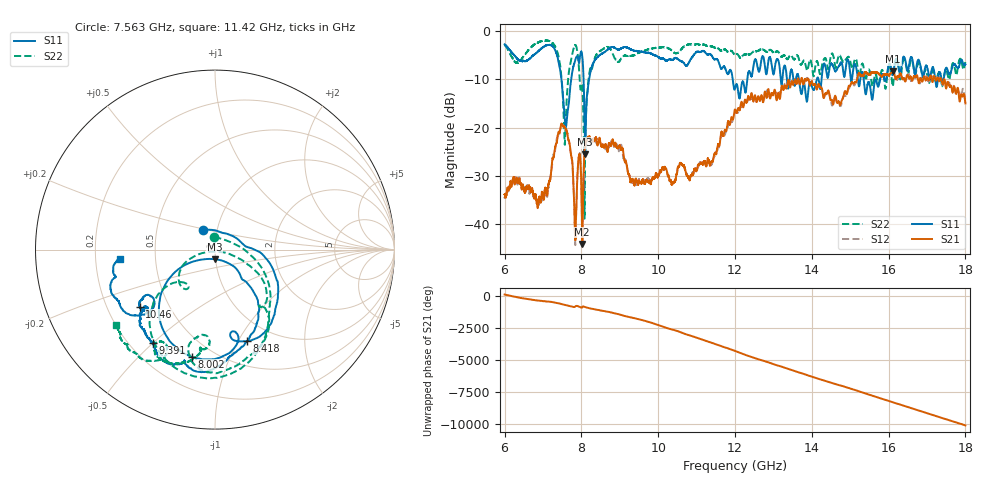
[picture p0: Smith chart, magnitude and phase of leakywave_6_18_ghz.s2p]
!Agilent Technologies,E8363B,MY43030246,A.04.87.01
!Agilent E8363B: A.04.87.01
!Date: Saturday, May 03, 2025 14:57:56
!Correction: S11(Full 2 Port SOLT,1,2) S21(Full 2 Port SOLT,1,2) S12(Full 2 Port SOLT,1,2) S22(Full 2 Port SOLT,1,2)
!S2P File: Measurements: S11, S21, S12, S22:
# Hz S  RI  R 50
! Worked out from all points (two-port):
!   16001 points, 6 GHz to 18 GHz, reference 50 ohm
!   highest |S21| = -8.33 dB at 16.11 GHz (marker M1); lowest = -44.1 dB at 8.022 GHz (marker M2)
!   |S21| within 3 dB of the highest: 13.45 GHz to 14.1 GHz (655.5 MHz wide, 4.76 % of centre); 15 GHz to 17.48 GHz (2.485 GHz wide, 15.3 % of centre)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
!   lowest |S11| = -25.5 dB at 8.099 GHz (marker M3), VSWR 1.11, Z = 49.6 - j5.3 ohm
!   |S11| at or under -10 dB: 11.94 GHz to 12.32 GHz (378.3 MHz wide, 3.12 % of centre); 13.66 GHz to 14.13 GHz (463.8 MHz wide, 3.34 % of centre); 15.35 GHz to 15.78 GHz (425.1 MHz wide, 2.73 % of centre)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
!   |S22| runs from -38.9 to -1.9 dB; largest |S21 - S12| = 0.044
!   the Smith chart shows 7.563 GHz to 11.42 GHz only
!   S11 on the Smith chart (normalised r, x): 7.563 GHz: 0.86, +0.19; 8.002 GHz: 0.38, -0.73; 8.418 GHz: 0.76, -1.09; 9.391 GHz: 0.29, -0.50; 10.46 GHz: 0.34, -0.30; 11.42 GHz: 0.31, -0.05
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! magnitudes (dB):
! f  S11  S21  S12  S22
! 6 GHz  -2.7  -33.8  -34.5  -2.8
! 6.894 GHz  -4.0  -34.7  -35.4  -2.3
! 7.268 GHz  -3.3  -26.3  -25.8  -2.7
! 7.563 GHz  -17.8  -19.9  -19.8  -23.2
! 7.817 GHz  -6.6  -37.2  -37.2  -3.1
! 7.937 GHz  -6.6  -25.8  -26.0  -7.7
! 8 GHz  -4.2  -32.6  -32.8  -11.3
! 8.002 GHz  -4.3  -33.5  -33.6  -11.2
! 8.022 GHz  -5.1  -44.1  -44.6  -11.6
! 8.099 GHz  -25.5  -23.6  -23.5  -23.0
! 8.201 GHz  -9.9  -21.9  -21.9  -8.9
! 8.418 GHz  -5.4  -23.6  -22.9  -4.5
! 9.391 GHz  -4.1  -31.7  -30.9  -4.9
! 10 GHz  -5.3  -29.9  -29.8  -3.3
! 10.46 GHz  -5.6  -30.2  -30.2  -4.5
! 11.42 GHz  -5.5  -26.9  -26.8  -3.2
! 12 GHz  -11.9  -16.2  -16.9  -4.9
! 12.72 GHz  -5.2  -14.4  -13.8  -3.8
! 14 GHz  -11.4  -10.4  -10.4  -7.0
! 16 GHz  -7.0  -9.2  -9.3  -7.3
! 16.11 GHz  -9.0  -8.3  -8.6  -11.3
! 18 GHz  -6.9  -15.0  -14.9  -6.4
